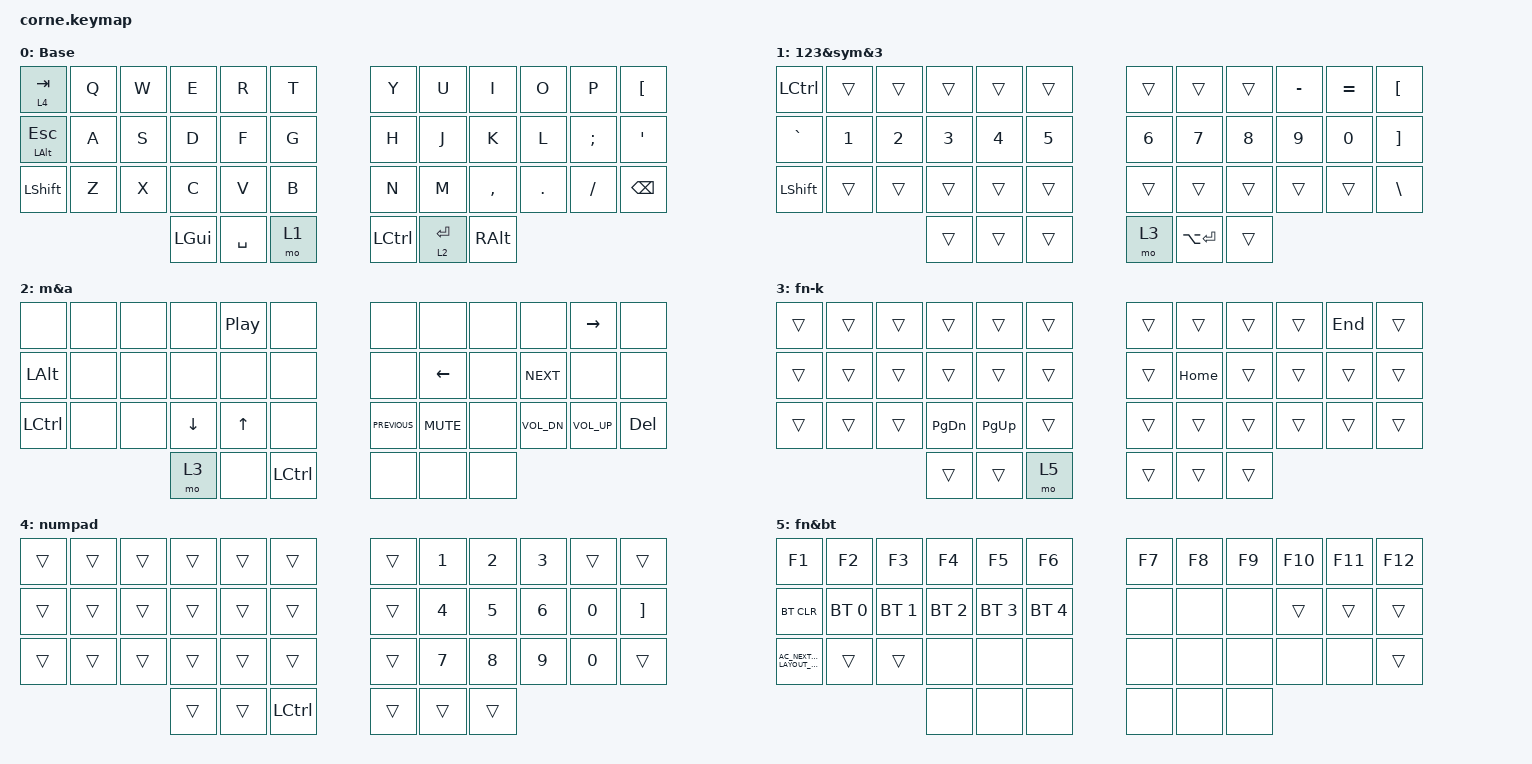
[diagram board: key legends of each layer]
/*

* Copyright (c) 2020 The ZMK Contributors
 *
 * SPDX-License-Identifier: MIT
 */

#include <behaviors.dtsi>
#include <dt-bindings/zmk/bt.h>
#include <dt-bindings/zmk/keys.h>

&mt { flavor = "tap-preferred"; };

/ {
    behaviors {
        hm: hm {
            compatible = "zmk,behavior-hold-tap";
            label = "HOMEROW_MODS";
            bindings = <&kp>, <&kp>;

            #binding-cells = <2>;
            tapping-term-ms = <200>;
            flavor = "tap-preferred";
            quick-tap-ms = <200>;
            require-prior-idle-ms = <125>;
        };

        tm: tm {
            compatible = "zmk,behavior-hold-tap";
            label = "TM";
            bindings = <&mo>, <&kp>;

            #binding-cells = <2>;
            tapping-term-ms = <200>;
            flavor = "hold-preferred";
            quick-tap-ms = <200>;
            require-prior-idle-ms = <125>;
        };
    };

    keymap {
        compatible = "zmk,keymap";

        layer_0 {
            // -----------------------------------------------------------------------------------------
            // |  TAB |  Q  |  W  |  E  |  R  |  T  |   |  Y  |  U   |  I  |  O  |  P  | BKSP |
            // | CTRL |  A  |  S  |  D  |  F  |  G  |   |  H  |  J   |  K  |  L  |  ;  |  '   |
            // | SHFT |  Z  |  X  |  C  |  V  |  B  |   |  N  |  M   |  ,  |  .  |  /  | ESC  |
            //                    | GUI | LWR | SPC |   | ENT | RSE  | ALT |

            display-name = "Base";
            bindings = <
&tm 4 TAB            &kp Q  &kp W  &kp E     &kp R      &kp T    &kp Y             &kp U        &kp I      &kp O    &kp P          &kp LEFT_BRACKET
&hm LEFT_ALT ESCAPE  &kp A  &kp S  &kp D     &kp F      &kp G    &kp H             &kp J        &kp K      &kp L    &kp SEMICOLON  &kp SQT
&kp LEFT_SHIFT       &kp Z  &kp X  &kp C     &kp V      &kp B    &kp N             &kp M        &kp COMMA  &kp DOT  &kp FSLH       &kp BACKSPACE
                                   &kp LGUI  &kp SPACE  &mo 1    &kp LEFT_CONTROL  &tm 2 ENTER  &kp RALT
            >;
        };

        layer_1 {
            // -----------------------------------------------------------------------------------------
            // |  TAB |  1  |  2  |  3  |  4  |  5  |   |  6  |  7  |  8  |  9  |  0  | BKSP |
            // | BTCLR| BT1 | BT2 | BT3 | BT4 | BT5 |   | LFT | DWN |  UP | RGT |     |      |
            // | SHFT |     |     |     |     |     |   |     |     |     |     |     |      |
            //                    | GUI |     | SPC |   | ENT |     | ALT |

            display-name = "123&sym&3";
            bindings = <
&kp LEFT_CONTROL  &trans        &trans        &trans        &trans        &trans          &trans        &trans        &trans        &kp MINUS     &kp EQUAL     &kp LBKT
&kp GRAVE         &kp NUMBER_1  &kp NUMBER_2  &kp NUMBER_3  &kp NUMBER_4  &kp NUMBER_5    &kp NUMBER_6  &kp NUMBER_7  &kp NUMBER_8  &kp NUMBER_9  &kp NUMBER_0  &kp RIGHT_BRACKET
&kp LEFT_SHIFT    &trans        &trans        &trans        &trans        &trans          &trans        &trans        &trans        &trans        &trans        &kp BACKSLASH
                                              &trans        &trans        &trans          &mo 3         &kp LA(RET)   &trans
            >;
        };

        layer_2 {
            bindings = <
&none             &none  &none  &none           &kp C_PLAY_PAUSE  &none        &none           &none           &none  &none         &kp RIGHT_ARROW  &none
&kp LEFT_ALT      &none  &none  &none           &none             &none        &none           &kp LEFT_ARROW  &none  &kp C_NEXT    &none            &none
&kp LEFT_CONTROL  &none  &none  &kp DOWN_ARROW  &kp UP_ARROW      &none        &kp C_PREVIOUS  &kp K_MUTE      &none  &kp C_VOL_DN  &kp C_VOLUME_UP  &kp DEL
                                &mo 3           &none             &kp LCTRL    &none           &none           &none
            >;

            label = "m&a";
        };

        layer_3 {
            bindings = <
&trans  &trans  &trans  &trans         &trans       &trans    &trans  &trans    &trans  &trans  &kp END  &trans
&trans  &trans  &trans  &trans         &trans       &trans    &trans  &kp HOME  &trans  &trans  &trans   &trans
&trans  &trans  &trans  &kp PAGE_DOWN  &kp PAGE_UP  &trans    &trans  &trans    &trans  &trans  &trans   &trans
                        &trans         &trans       &mo 5     &trans  &trans    &trans
            >;

            label = "fn-k";
        };

        layer_4 {
            bindings = <
&trans  &trans  &trans  &trans  &trans  &trans              &trans  &kp N1  &kp N2  &kp N3  &trans  &trans
&trans  &trans  &trans  &trans  &trans  &trans              &trans  &kp N4  &kp N5  &kp N6  &kp N0  &kp RIGHT_BRACKET
&trans  &trans  &trans  &trans  &trans  &trans              &trans  &kp N7  &kp N8  &kp N9  &kp N0  &trans
                        &trans  &trans  &kp LEFT_CONTROL    &trans  &trans  &trans
            >;

            label = "numpad";
        };

        layer_5 {
            bindings = <
&kp F1                                &kp F2        &kp F3        &kp F4        &kp F5        &kp F6          &kp F7  &kp F8  &kp F9  &kp F10  &kp F11  &kp F12
&bt BT_CLR                            &bt BT_SEL 0  &bt BT_SEL 1  &bt BT_SEL 2  &bt BT_SEL 3  &bt BT_SEL 4    &none   &none   &none   &trans   &trans   &trans
&kp C_AC_NEXT_KEYBOARD_LAYOUT_SELECT  &trans        &trans        &none         &none         &none           &none   &none   &none   &none    &none    &trans
                                                                  &none         &none         &none           &none   &none   &none
            >;

            label = "fn&bt";
        };
    };
};
